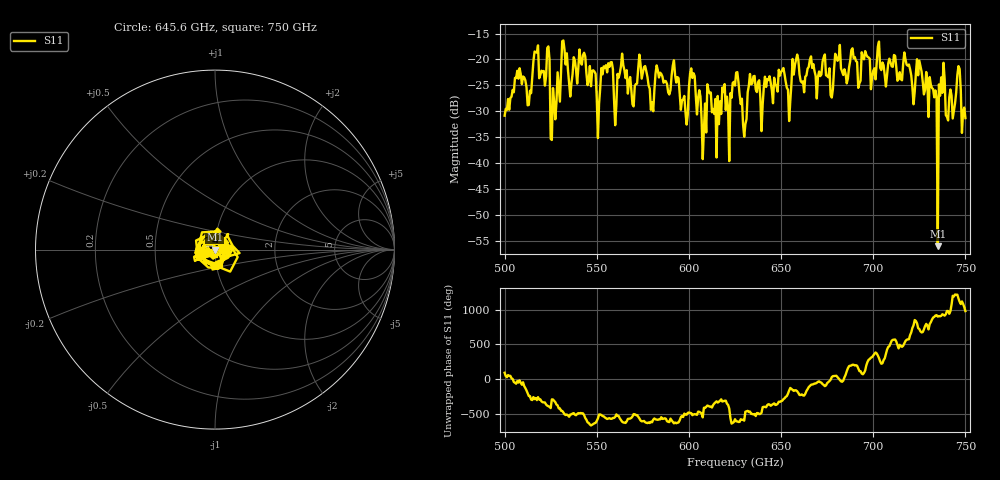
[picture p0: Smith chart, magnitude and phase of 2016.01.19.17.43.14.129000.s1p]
!Created with skrf (http://scikit-rf.org).
# GHz S RI R 50.0
!freq ReS11 ImS11
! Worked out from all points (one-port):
!   401 points, 500 GHz to 750 GHz, reference 50 ohm
!   lowest |S11| = -56.1 dB at 735 GHz (marker M1), VSWR 1.00, Z = 49.8 + j0.000518 ohm
!   |S11| at or under -10 dB: start of sweep to end of sweep
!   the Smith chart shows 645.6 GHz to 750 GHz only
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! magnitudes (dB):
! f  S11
! 500 GHz  -30.9
! 506.9 GHz  -22.2
! 513.8 GHz  -26.0
! 516.9 GHz  -18.6
! 523.1 GHz  -17.8
! 526.2 GHz  -25.5
! 531.2 GHz  -16.5
! 541.9 GHz  -21.0
! 550.6 GHz  -35.2
! 562.5 GHz  -22.6
! 580 GHz  -28.3
! 593.8 GHz  -23.4
! 598.1 GHz  -30.2
! 601.9 GHz  -23.6
! 608.1 GHz  -33.5
! 611.2 GHz  -26.5
! 621.2 GHz  -29.4
! 625 GHz  -25.0
! 630 GHz  -34.9
! 634.4 GHz  -24.6
! 656.2 GHz  -19.9
! 687.5 GHz  -20.3
! 718.8 GHz  -21.2
! 735 GHz  -56.1
! 737.5 GHz  -26.4
! 740.6 GHz  -31.8
! 746.2 GHz  -21.3
! 750 GHz  -31.3
